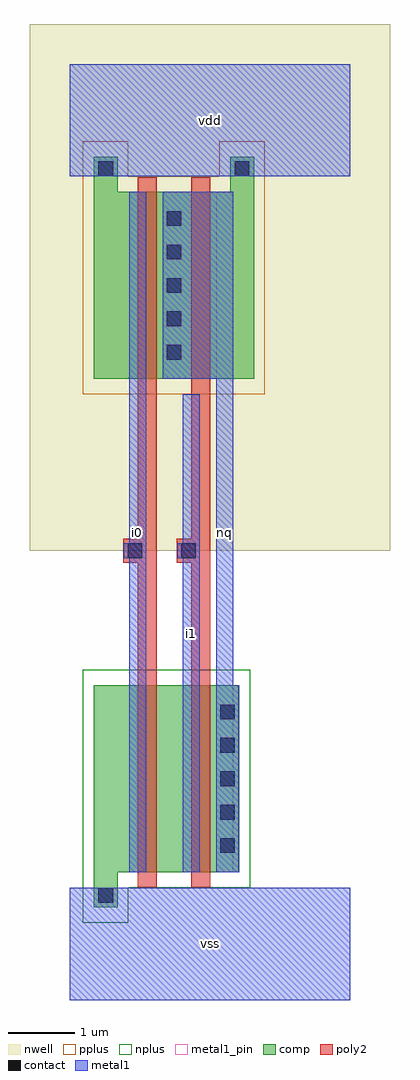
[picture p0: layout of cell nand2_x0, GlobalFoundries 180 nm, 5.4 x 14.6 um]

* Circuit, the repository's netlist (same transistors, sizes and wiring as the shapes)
* nand2_x0
.subckt nand2_x0 vdd vss nq i0 i1
Mn0 vss i0 int0 vss nfet_03v3 l=0.28um w=2.8um
Mp0 vdd i0 nq vdd pfet_03v3 l=0.28um w=2.8um
Mn1 int0 i1 nq vss nfet_03v3 l=0.28um w=2.8um
Mp1 nq i1 vdd vdd pfet_03v3 l=0.28um w=2.8um
.ends nand2_x0

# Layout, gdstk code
import gdstk
lib = gdstk.Library(unit=1e-6, precision=1e-09)
def R(c, l, rs):  # rectangles x0, y0, x1, y1
    for r in rs: c.add(gdstk.rectangle(r[:2], r[2:], *l))
def A(c, l, x, y, w, h, nx, ny, dx, dy):  # array of equal rectangles
    R(c, l, [(x+i*dx, y+j*dy, x+i*dx+w, y+j*dy+h) for i in range(nx) for j in range(ny)])
def P(c, l, *ps):  # polygons
    for p in ps: c.add(gdstk.Polygon(p, *l))
nwell = (21, 0)
comp = (22, 0)
poly2 = (30, 0)
pplus = (31, 0)
nplus = (32, 0)
contact = (33, 0)
metal1 = (34, 0)
metal1_pin = (34, 10)

nand2_x0 = lib.new_cell('nand2_x0')
R(nand2_x0, nwell, [(-0.6,6.72,4.8,14.6)])
P(nand2_x0, comp, [(0.36,1.385),(0.36,4.71),(2.54,4.71),(2.54,1.91),(0.72,1.91),(0.72,1.385)],
  [(0.36,9.29),(0.36,12.615),(0.72,12.615),(0.72,12.09),(2.4,12.09),(2.4,12.615),(2.76,12.615),(2.76,9.29)])
P(nand2_x0, poly2, [(1.02,1.69),(1.02,6.54),(0.8,6.54),(0.8,6.9),(1.02,6.9),(1.02,12.31),(1.3,12.31),(1.3,1.69)],
  [(1.82,1.69),(1.82,6.54),(1.6,6.54),(1.6,6.9),(1.82,6.9),(1.82,12.31),(2.1,12.31),(2.1,1.69)])
P(nand2_x0, pplus, [(0.2,9.06),(0.2,12.845),(0.88,12.845),(0.88,12.32),(2.24,12.32),(2.24,12.845),(2.92,12.845),(2.92,9.06)])
P(nand2_x0, nplus, [(0.2,1.155),(0.2,4.94),(2.7,4.94),(2.7,1.68),(0.88,1.68),(0.88,1.155)])
A(nand2_x0, contact, 2.25, 2.2, 0.22, 0.22, 1, 5, 0, 0.5)
A(nand2_x0, contact, 1.45, 9.58, 0.22, 0.22, 1, 5, 0, 0.5)
R(nand2_x0, contact, [(0.43,1.455,0.65,1.675), (0.87,6.61,1.09,6.83), (1.67,6.61,1.89,6.83), (0.43,12.325,0.65,12.545), (2.47,12.325,2.69,12.545)])
R(nand2_x0, metal1, [(0,0,4.2,1.68), (0,12.32,4.2,14)])
P(nand2_x0, metal1, [(0.89,1.91),(0.89,6.605),(0.81,6.605),(0.81,6.835),(0.89,6.835),(0.89,12.09),(1.15,12.09),(1.15,1.91)],
  [(2.19,1.91),(2.19,9.29),(1.39,9.29),(1.39,12.09),(2.45,12.09),(2.45,4.71),(2.53,4.71),(2.53,1.91)],
  [(1.69,1.91),(1.69,6.605),(1.61,6.605),(1.61,6.835),(1.69,6.835),(1.69,9.06),(1.95,9.06),(1.95,1.91)])
R(nand2_x0, metal1_pin, [(0,0,4.2,1.68), (0.89,1.91,1.15,12.09), (1.69,1.91,1.95,9.06), (2.19,1.91,2.45,12.09), (0,12.32,4.2,14)])
nand2_x0.add(gdstk.Label('vss', (2.1,0.84), layer=34, texttype=10))
nand2_x0.add(gdstk.Label('vdd', (2.1,13.16), layer=34, texttype=10))
nand2_x0.add(gdstk.Label('i0', (1.02,7), layer=34, texttype=10))
nand2_x0.add(gdstk.Label('nq', (2.32,7), layer=34, texttype=10))
nand2_x0.add(gdstk.Label('i1', (1.82,5.485), layer=34, texttype=10))

lib.write_gds('nand2_x0.gds')
